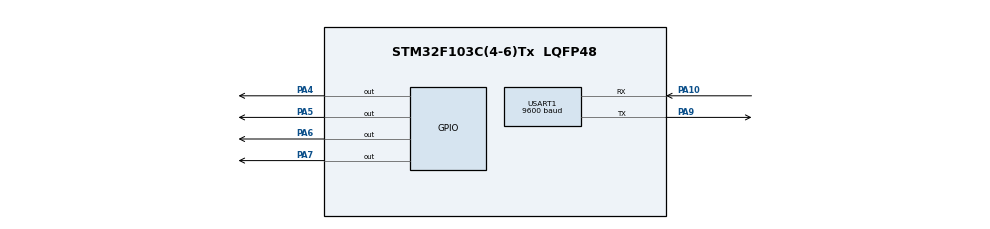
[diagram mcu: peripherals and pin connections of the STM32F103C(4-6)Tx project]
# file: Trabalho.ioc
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Mcu.Family=STM32F1
Mcu.Name=STM32F103C(4-6)Tx
Mcu.Package=LQFP48
NVIC.PriorityGroup=NVIC_PRIORITYGROUP_4
PA10.Mode=Asynchronous
PA10.Signal=USART1_RX
PA13.Signal=SYS_JTMS-SWDIO
PA14.Signal=SYS_JTCK-SWCLK
PA4.Signal=GPIO_Output
PA5.Signal=GPIO_Output
PA6.Signal=GPIO_Output
PA7.Signal=GPIO_Output
PA9.Mode=Asynchronous
PA9.Signal=USART1_TX
ProjectManager.HeapSize=0x200
ProjectManager.StackSize=0x400
ProjectManager.TargetToolchain=STM32CubeIDE
RCC.APB1Freq_Value=8000000
RCC.APB2Freq_Value=8000000
USART1.BaudRate=9600
USART1.VirtualMode=VM_ASYNC
VP_SYS_VS_ND.Mode=No_Debug
board=custom

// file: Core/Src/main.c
/* USER CODE BEGIN Header */
/**
  ******************************************************************************
  * @file           : main.c
  * @brief          : Main program body
  ******************************************************************************
  * @attention
  *
  * Copyright (c) 2022 STMicroelectronics.
  * All rights reserved.
  *
  * This software is licensed under terms that can be found in the LICENSE file
  * in the root directory of this software component.
  * If no LICENSE file comes with this software, it is provided AS-IS.
  *
  ******************************************************************************
  */
/* USER CODE END Header */
#include "main.h"
#include <stdio.h>

UART_HandleTypeDef huart1;

void SystemClock_Config(void);
static void MX_GPIO_Init(void);
static void MX_USART1_UART_Init(void);

#define HIGH 1
#define LOW 0

void digitalWrite(int pin, int value){
	HAL_GPIO_WritePin(GPIOA, 0x0001<<pin, value);
}

int main(void)
{

  /* MCU Configuration--------------------------------------------------------*/

  /* Reset of all peripherals, Initializes the Flash interface and the Systick. */
  HAL_Init();

  /* Configure the system clock */
  SystemClock_Config();

  /* Initialize all configured peripherals */
  MX_GPIO_Init();
  MX_USART1_UART_Init();

  /* Infinite loop */
  /* USER CODE BEGIN WHILE */

  uint8_t buffer;

  while (1)
  {
    /* USER CODE END WHILE */

    /* USER CODE BEGIN 3 */
	  while (HAL_UART_Receive(&huart1, &buffer, 1, 0) != HAL_OK){

		  if(buffer == 0x31){	// SENTIDO FRENTE

			  digitalWrite(4, LOW);
			  digitalWrite(5, HIGH);

			  digitalWrite(6, HIGH);
			  digitalWrite(7, LOW);

			  HAL_Delay(100);
		  } else if(buffer == 0x32){	// SENTIDO RÉ

			  digitalWrite(4, HIGH);
			  digitalWrite(5, LOW);

			  digitalWrite(6, LOW);
			  digitalWrite(7, HIGH);

			  HAL_Delay(100);
		  } else if(buffer == 0x33){	// SENTIDO DIREITA

			  digitalWrite(4, LOW);
			  digitalWrite(5, HIGH);

			  digitalWrite(6, HIGH);
			  digitalWrite(7, HIGH);

			  HAL_Delay(100);
		  } else if(buffer == 0x34){	// SENTIDO ESQUERDA

			  digitalWrite(4, HIGH);
			  digitalWrite(5, HIGH);

			  digitalWrite(6, HIGH);
			  digitalWrite(7, LOW);

			  HAL_Delay(100);
		  } else if(buffer == 0x35){	// FREIO

			  digitalWrite(4, HIGH);
			  digitalWrite(5, HIGH);

			  digitalWrite(6, HIGH);
			  digitalWrite(7, HIGH);

		  } else {	// PONTO MORTO
			  digitalWrite(4, LOW);
			  digitalWrite(5, LOW);
			  digitalWrite(6, LOW);
			  digitalWrite(7, LOW);
		  }
	  }
	  digitalWrite(4, LOW);
	  digitalWrite(5, LOW);
	  digitalWrite(6, LOW);
	  digitalWrite(7, LOW);
  }
  /* USER CODE END 3 */
}

void SystemClock_Config(void)
{
  RCC_OscInitTypeDef RCC_OscInitStruct = {0};
  RCC_ClkInitTypeDef RCC_ClkInitStruct = {0};

  /** Initializes the RCC Oscillators according to the specified parameters
  * in the RCC_OscInitTypeDef structure.
  */
  RCC_OscInitStruct.OscillatorType = RCC_OSCILLATORTYPE_HSI;
  RCC_OscInitStruct.HSIState = RCC_HSI_ON;
  RCC_OscInitStruct.HSICalibrationValue = RCC_HSICALIBRATION_DEFAULT;
  RCC_OscInitStruct.PLL.PLLState = RCC_PLL_NONE;
  if (HAL_RCC_OscConfig(&RCC_OscInitStruct) != HAL_OK)
  {
    Error_Handler();
  }
  /** Initializes the CPU, AHB and APB buses clocks
  */
  RCC_ClkInitStruct.ClockType = RCC_CLOCKTYPE_HCLK|RCC_CLOCKTYPE_SYSCLK
                              |RCC_CLOCKTYPE_PCLK1|RCC_CLOCKTYPE_PCLK2;
  RCC_ClkInitStruct.SYSCLKSource = RCC_SYSCLKSOURCE_HSI;
  RCC_ClkInitStruct.AHBCLKDivider = RCC_SYSCLK_DIV1;
  RCC_ClkInitStruct.APB1CLKDivider = RCC_HCLK_DIV1;
  RCC_ClkInitStruct.APB2CLKDivider = RCC_HCLK_DIV1;

  if (HAL_RCC_ClockConfig(&RCC_ClkInitStruct, FLASH_LATENCY_0) != HAL_OK)
  {
    Error_Handler();
  }
}

static void MX_USART1_UART_Init(void)
{

  huart1.Instance = USART1;
  huart1.Init.BaudRate = 9600;
  huart1.Init.WordLength = UART_WORDLENGTH_8B;
  huart1.Init.StopBits = UART_STOPBITS_1;
  huart1.Init.Parity = UART_PARITY_NONE;
  huart1.Init.Mode = UART_MODE_TX_RX;
  huart1.Init.HwFlowCtl = UART_HWCONTROL_NONE;
  huart1.Init.OverSampling = UART_OVERSAMPLING_16;
  if (HAL_UART_Init(&huart1) != HAL_OK)
  {
    Error_Handler();
  }

}

static void MX_GPIO_Init(void)
{
  GPIO_InitTypeDef GPIO_InitStruct = {0};

  /* GPIO Ports Clock Enable */
  __HAL_RCC_GPIOA_CLK_ENABLE();

  /*Configure GPIO pin Output Level */
  HAL_GPIO_WritePin(GPIOA, GPIO_PIN_4|GPIO_PIN_5|GPIO_PIN_6|GPIO_PIN_7, GPIO_PIN_RESET);

  /*Configure GPIO pins : PA4 PA5 PA6 PA7 */
  GPIO_InitStruct.Pin = GPIO_PIN_4|GPIO_PIN_5|GPIO_PIN_6|GPIO_PIN_7;
  GPIO_InitStruct.Mode = GPIO_MODE_OUTPUT_PP;
  GPIO_InitStruct.Pull = GPIO_NOPULL;
  GPIO_InitStruct.Speed = GPIO_SPEED_FREQ_LOW;
  HAL_GPIO_Init(GPIOA, &GPIO_InitStruct);

}

void Error_Handler(void)
{
  __disable_irq();
  while (1)
  {
  }
}
